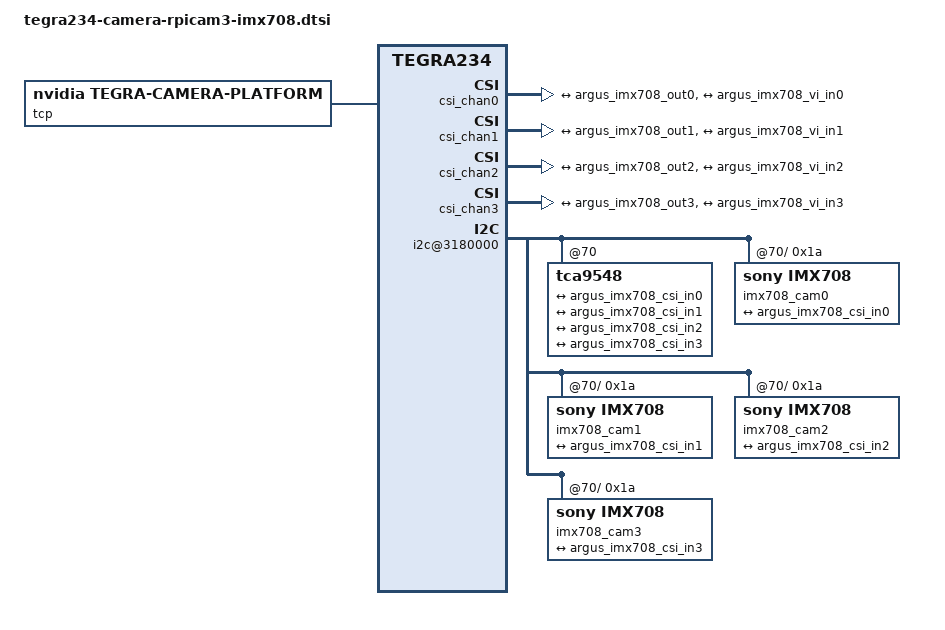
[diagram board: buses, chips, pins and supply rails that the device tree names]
/*
 * Copyright (c) 2022-2023, NVIDIA CORPORATION.  All rights reserved.
 * Copyright (c) 2023, RidgeRun <support@ridgerun.com>. All rights reserved
 *
 * This program is free software; you can redistribute it and/or modify
 * it under the terms of the GNU General Public License as published by
 * the Free Software Foundation; either version 2 of the License, or
 * (at your option) any later version.
 *
 * This program is distributed in the hope that it will be useful, but WITHOUT
 * ANY WARRANTY; without even the implied warranty of MERCHANTABILITY or
 * FITNESS FOR A PARTICULAR PURPOSE.  See the GNU General Public License for
 * more details.
 *
 * You should have received a copy of the GNU General Public License
 * along with this program.  If not, see <http://www.gnu.org/licenses/>.
 */

/ {
	fragment-camera@0 {
		target-path = "/";
		__overlay__ {
			tegra-capture-vi  {
				num-channels = <4>;
				ports {
					#address-cells = <1>;
					#size-cells = <0>;
					vi_port0: port@0 {
						reg = <0>;
						argus_imx708_vi_in0: endpoint {
							status="okay";
							port-index = <0>;
							bus-width = <2>;
							remote-endpoint = <&argus_imx708_csi_out0>;
						};
					};
					vi_port1: port@1 {
						reg = <1>;
						argus_imx708_vi_in1: endpoint {
							status="okay";
							port-index = <1>;
							bus-width = <2>;
							remote-endpoint = <&argus_imx708_csi_out1>;
						};
					};
					vi_port2: port@2 {
						reg = <2>;
						argus_imx708_vi_in2: endpoint {
							status="okay";
							port-index = <2>;
							bus-width = <2>;
							remote-endpoint = <&argus_imx708_csi_out2>;
						};
					};
					vi_port3: port@3 {
						reg = <3>;
						argus_imx708_vi_in3: endpoint {
							status="okay";
							port-index = <3>;
							bus-width = <2>;
							remote-endpoint = <&argus_imx708_csi_out3>;
						};
					};
				};
			};

			bus@0 {
				host1x@13e00000 {
					nvcsi@15a00000 {
						num-channels = <4>;
						#address-cells = <1>;
						#size-cells = <0>;
						csi_chan0: channel@0 {
							reg = <0>;
							status = "okay";
							ports {
								#address-cells = <1>;
								#size-cells = <0>;
								csi_chan0_port0: port@0 {
									reg = <0>;
									argus_imx708_csi_in0: endpoint@0 {
										status = "okay";
										port-index = <0>;
										bus-width = <2>;
										remote-endpoint = <&argus_imx708_out0>;
									};
								};
								csi_chan0_port1: port@1 {
									reg = <1>;
									argus_imx708_csi_out0: endpoint@1 {
										status = "okay";
										remote-endpoint = <&argus_imx708_vi_in0>;
									};
								};
							};
						};
						csi_chan1: channel@1 {
							reg = <1>;
							status = "okay";
							ports {
								#address-cells = <1>;
								#size-cells = <0>;
								csi_chan1_port0: port@0 {
									reg = <0>;
									argus_imx708_csi_in1: endpoint@2 {
										status = "okay";
										port-index = <1>;
										bus-width = <2>;
										remote-endpoint = <&argus_imx708_out1>;
									};
								};
								csi_chan1_port1: port@1 {
									reg = <1>;
									argus_imx708_csi_out1: endpoint@3 {
										status = "okay";
										remote-endpoint = <&argus_imx708_vi_in1>;
									};
								};
							};
						};
						csi_chan2: channel@2 {
							reg = <2>;
							status = "okay";
							ports {
								#address-cells = <1>;
								#size-cells = <0>;
								csi_chan2_port0: port@0 {
									reg = <0>;
									argus_imx708_csi_in2: endpoint@4 {
										status = "okay";
										port-index = <2>;
										bus-width = <2>;
										remote-endpoint = <&argus_imx708_out2>;
									};
								};
								csi_chan2_port1: port@1 {
									reg = <1>;
									argus_imx708_csi_out2: endpoint@5 {
										status = "okay";
										remote-endpoint = <&argus_imx708_vi_in2>;
									};
								};
							};
						};
						csi_chan3: channel@3 {
							reg = <3>;
							status = "okay";
							ports {
								#address-cells = <1>;
								#size-cells = <0>;
								csi_chan3_port0: port@0 {
									reg = <0>;
									argus_imx708_csi_in3: endpoint@6 {
										status = "okay";
										port-index = <3>;
										bus-width = <2>;
										remote-endpoint = <&argus_imx708_out3>;
									};
								};
								csi_chan3_port1: port@1 {
									reg = <1>;
									argus_imx708_csi_out3: endpoint@7 {
										status = "okay";
										remote-endpoint = <&argus_imx708_vi_in3>;
									};
								};
							};
						};
					};
				};

				i2c@3180000 {
					status = "okay";
					tca9548@70 {
						i2c_0: i2c@0 {
							imx708_cam0: argus_imx708_a@1a {
								status = "okay";
								compatible = "sony,imx708";
								reg = <0x1a>;
								devnode = "video0";
								physical_w = "3.680";
								physical_h = "2.760";
								sensor_model = "imx708";
								use_sensor_mode_id = "true";
				
								/* IMX708_MODE_4608x2592_14fps */
								mode0 {
									mclk_khz = "24000";
									num_lanes = "2";
									tegra_sinterface = "serial_a";
									phy_mode = "DPHY";
									discontinuous_clk = "yes";
									dpcm_enable = "false";
									cil_settletime = "0";
									lane_polarity = "6";
				
									active_w = "4608";
									active_h = "2592";
									mode_type = "bayer";
									pixel_phase = "rggb";
									csi_pixel_bit_depth = "10";
									readout_orientation = "90";
									line_length = "4808";
									inherent_gain = "1";
									pix_clk_hz = "297600000"; 
				
									gain_factor = "16";
									framerate_factor = "1000000";
									exposure_factor = "1000000";
									min_gain_val = "16"; 
									max_gain_val = "256"; 
									step_gain_val = "1";
									default_gain = "16";
									min_hdr_ratio = "1";
									max_hdr_ratio = "1";
									min_framerate = "2000000";
									max_framerate = "14000000";
									step_framerate = "1";
									default_framerate = "14000000";
									min_exp_time = "500";
									max_exp_time = "65487";
									step_exp_time = "1";
									default_exp_time = "1600";
									embedded_metadata_height = "4";
								};
				
								ports {
									#address-cells = <1>;
									#size-cells = <0>;
				
									port@0 {
										reg = <0>;
										status = "okay";
										argus_imx708_out0: endpoint {
											status = "okay";
											port-index = <0>;
											bus-width = <2>;
											remote-endpoint = <&argus_imx708_csi_in0>;
										};
									};
								};
							};
						};
						i2c_1: i2c@1 {
							imx708_cam1: argus_imx708_b@1a {
								status = "okay";
								compatible = "sony,imx708";
								reg = <0x1a>;
								devnode = "video1";
								physical_w = "3.680";
								physical_h = "2.760";
								sensor_model = "imx708";
								use_sensor_mode_id = "true";
				
								/* IMX708_MODE_4608x2592_14fps */
								mode0 {
									mclk_khz = "24000";
									num_lanes = "2";
									tegra_sinterface = "serial_b";
									phy_mode = "DPHY";
									discontinuous_clk = "yes";
									dpcm_enable = "false";
									cil_settletime = "0";
									lane_polarity = "6";
				
									active_w = "4608";
									active_h = "2592";
									mode_type = "bayer";
									pixel_phase = "rggb";
									csi_pixel_bit_depth = "10";
									readout_orientation = "90";
									line_length = "4808";
									inherent_gain = "1";
									pix_clk_hz = "297600000";
				
									gain_factor = "16";
									framerate_factor = "1000000";
									exposure_factor = "1000000";
									min_gain_val = "16"; 
									max_gain_val = "256"; 
									step_gain_val = "1";
									default_gain = "16";
									min_hdr_ratio = "1";
									max_hdr_ratio = "1";
									min_framerate = "2000000";
									max_framerate = "14000000";
									step_framerate = "1";
									default_framerate = "14000000";
									min_exp_time = "500";
									max_exp_time = "65487";
									step_exp_time = "1";
									default_exp_time = "1600";
									embedded_metadata_height = "4";
								};
				
								ports {
									#address-cells = <1>;
									#size-cells = <0>;
				
									port@0 {
										reg = <0>;
										status = "okay";
										argus_imx708_out1: endpoint {
											status = "okay";
											port-index = <1>;
											bus-width = <2>;
											remote-endpoint = <&argus_imx708_csi_in1>;
										};
									};
								};
							};
						};
						i2c_2: i2c@2 {
							imx708_cam2: argus_imx708_c@1a {
								status = "okay";
								compatible = "sony,imx708";
								reg = <0x1a>;
								devnode = "video2";
								physical_w = "3.680";
								physical_h = "2.760";
								sensor_model = "imx708";
								use_sensor_mode_id = "true";
				
								/* IMX708_MODE_4608x2592_14fps */
								mode0 {
									mclk_khz = "24000";
									num_lanes = "2";
									tegra_sinterface = "serial_c";
									phy_mode = "DPHY";
									discontinuous_clk = "yes";
									dpcm_enable = "false";
									cil_settletime = "0";
									lane_polarity = "0";
				
									active_w = "4608";
									active_h = "2592";
									mode_type = "bayer";
									pixel_phase = "rggb";
									csi_pixel_bit_depth = "10";
									readout_orientation = "90";
									line_length = "4808";
									inherent_gain = "1";
									pix_clk_hz = "297600000"; 
				
									gain_factor = "16";
									framerate_factor = "1000000";
									exposure_factor = "1000000";
									min_gain_val = "16"; 
									max_gain_val = "256"; 
									step_gain_val = "1";
									default_gain = "16";
									min_hdr_ratio = "1";
									max_hdr_ratio = "1";
									min_framerate = "2000000";
									max_framerate = "14000000";
									step_framerate = "1";
									default_framerate = "14000000";
									min_exp_time = "500";
									max_exp_time = "65487";
									step_exp_time = "1";
									default_exp_time = "1600";
									embedded_metadata_height = "4";
								};
				
								ports {
									#address-cells = <1>;
									#size-cells = <0>;
				
									port@0 {
										reg = <0>;
										status = "okay";
										argus_imx708_out2: endpoint {
											status = "okay";
											port-index = <2>;
											bus-width = <2>;
											remote-endpoint = <&argus_imx708_csi_in2>;
										};
									};
								};
							};
						};
						i2c_3: i2c@3 {
							imx708_cam3: argus_imx708_d@1a {
								status = "okay";
								compatible = "sony,imx708";
								reg = <0x1a>;
								devnode = "video3";
								physical_w = "3.680";
								physical_h = "2.760";
								sensor_model = "imx708";
								use_sensor_mode_id = "true";
				
								/* IMX708_MODE_4608x2592_14fps */
								mode0 {
									mclk_khz = "24000";
									num_lanes = "2";
									tegra_sinterface = "serial_d";
									phy_mode = "DPHY";
									discontinuous_clk = "yes";
									dpcm_enable = "false";
									cil_settletime = "0";
									lane_polarity = "0";
				
									active_w = "4608";
									active_h = "2592";
									mode_type = "bayer";
									pixel_phase = "rggb";
									csi_pixel_bit_depth = "10";
									readout_orientation = "90";
									line_length = "4808";
									inherent_gain = "1";
									pix_clk_hz = "297600000";
				
									gain_factor = "16";
									framerate_factor = "1000000";
									exposure_factor = "1000000";
									min_gain_val = "16"; 
									max_gain_val = "256"; 
									step_gain_val = "1";
									default_gain = "16";
									min_hdr_ratio = "1";
									max_hdr_ratio = "1";
									min_framerate = "2000000";
									max_framerate = "14000000";
									step_framerate = "1";
									default_framerate = "14000000";
									min_exp_time = "500";
									max_exp_time = "65487";
									step_exp_time = "1";
									default_exp_time = "1600";
									embedded_metadata_height = "4";
								};
				
								ports {
									#address-cells = <1>;
									#size-cells = <0>;
				
									port@0 {
										reg = <0>;
										status = "okay";
										argus_imx708_out3: endpoint {
											status = "okay";
											port-index = <3>;
											bus-width = <2>;
											remote-endpoint = <&argus_imx708_csi_in3>;
										};
									};
								};
							};
						};
					};
				};
			};

			tcp: tegra-camera-platform {
				compatible = "nvidia, tegra-camera-platform";
				num_csi_lanes = <8>;
				max_lane_speed = <2500000>;
				min_bits_per_pixel = <10>;
				vi_peak_byte_per_pixel = <2>;
				vi_bw_margin_pct = <25>;
				max_pixel_rate = <7500000>;
				isp_peak_byte_per_pixel = <5>;
				isp_bw_margin_pct = <25>;
		
				modules {
					cam_module0: module0 {
						status = "okay";
						badge = "jakku_bottomleft_RBPCV3";
						position = "bottomleft";
						orientation = "1";
						cam_module0_drivernode0: drivernode0 {
							pcl_id = "v4l2_sensor";
							sysfs-device-tree = "/sys/firmware/devicetree/base/bus@0/i2c@3180000/tca9548@70/i2c@0/argus_imx708_a@1a";
						};
					};
					cam_module1: module1 {
						badge = "jakku_bottomright_RBPCV3";
						position = "bottomright";
						orientation = "1";
						cam_module1_drivernode0: drivernode0 {
							pcl_id = "v4l2_sensor";
							sysfs-device-tree = "/sys/firmware/devicetree/base/bus@0/i2c@3180000/tca9548@70/i2c@1/argus_imx708_b@1a";
						};
					};
					cam_module2: module2 {
						status = "okay";
						badge = "jakku_centerleft_RBPCV3";
						position = "centerleft";
						orientation = "1";
						cam_module2_drivernode0: drivernode0 {
							pcl_id = "v4l2_sensor";
							sysfs-device-tree = "/sys/firmware/devicetree/base/bus@0/i2c@3180000/tca9548@70/i2c@2/argus_imx708_c@1a";
						};
					};
					cam_module3: module3 {
						badge = "jakku_centerright_RBPCV3";
						position = "centerright";
						orientation = "1";
						cam_module3_drivernode0: drivernode0 {
							pcl_id = "v4l2_sensor";
							sysfs-device-tree = "/sys/firmware/devicetree/base/bus@0/i2c@3180000/tca9548@70/i2c@3/argus_imx708_d@1a";
						};
					};
				};
			};
		};
	};
};
